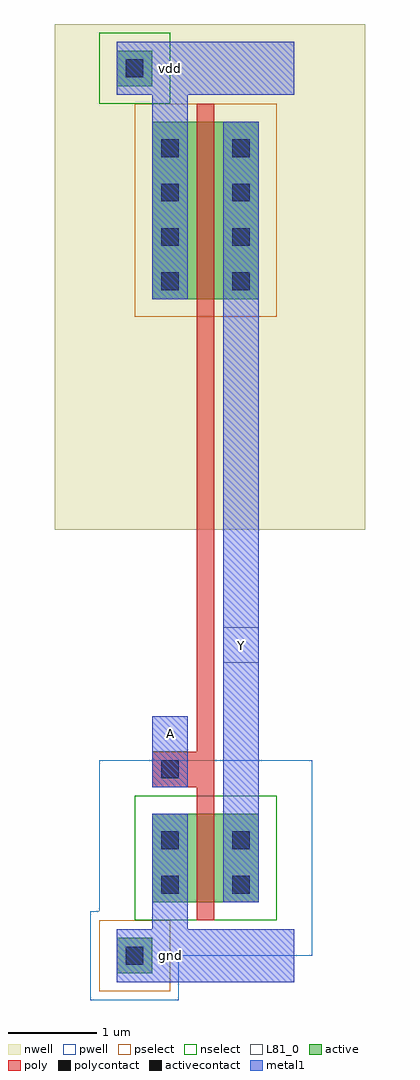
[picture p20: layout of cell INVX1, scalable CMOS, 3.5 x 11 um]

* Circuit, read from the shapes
.subckt INVX1 A Y gnd vdd
M1 Y A gnd gnd nfet w=1u l=0.2u
M2 Y A vdd vdd pfet w=2u l=0.2u
.ends

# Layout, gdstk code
import gdstk
lib = gdstk.Library(unit=1e-6, precision=1e-09)
def R(c, l, rs):  # rectangles x0, y0, x1, y1
    for r in rs: c.add(gdstk.rectangle(r[:2], r[2:], *l))
def A(c, l, x, y, w, h, nx, ny, dx, dy):  # array of equal rectangles
    R(c, l, [(x+i*dx, y+j*dy, x+i*dx+w, y+j*dy+h) for i in range(nx) for j in range(ny)])
pwell = (41, 0)
nwell = (42, 0)
active = (43, 0)
pselect = (44, 0)
nselect = (45, 0)
poly = (46, 0)
polycontact = (47, 0)
activecontact = (48, 0)
metal1 = (49, 0)
L81_0 = (81, 0)

invx1 = lib.new_cell('INVX1')
R(invx1, pwell, [(-0.5,-0.5,0.5,0), (-0.5,0,2,0.5), (-0.4,0.5,2,2.2)])
R(invx1, nwell, [(-0.9,4.8,2.6,10.5)])
R(invx1, active, [(-0.2,-0.2,0.2,0.2), (0.2,0.6,1.4,1.6), (0.2,7.4,1.4,9.4), (-0.2,9.8,0.2,10.2)])
R(invx1, pselect, [(-0.4,-0.4,0.4,0.4), (0,7.2,1.6,9.6)])
R(invx1, nselect, [(0,0.4,1.6,1.8), (-0.4,9.6,0.4,10.4)])
R(invx1, poly, [(0.7,0.4,0.9,1.9), (0.2,1.9,0.9,2.3), (0.7,2.3,0.9,9.6)])
R(invx1, polycontact, [(0.3,2,0.5,2.2)])
A(invx1, activecontact, 0.3, 7.5, 0.2, 0.2, 1, 4, 0, 0.5)
A(invx1, activecontact, 1.1, 7.5, 0.2, 0.2, 1, 4, 0, 0.5)
R(invx1, activecontact, [(-0.1,-0.1,0.1,0.1), (0.3,0.7,0.5,0.9), (1.1,0.7,1.3,0.9), (0.3,1.2,0.5,1.4), (1.1,1.2,1.3,1.4), (-0.1,9.9,0.1,10.1)])
R(invx1, metal1, [(-0.2,-0.3,1.8,0.3), (0.2,0.3,0.6,1.6), (1,0.6,1.4,9.4), (0.2,1.9,0.6,2.7), (0.2,7.4,0.6,9.7), (-0.2,9.7,1.8,10.3)])
R(invx1, L81_0, [(0.2,2.3,0.6,2.7), (1,3.3,1.4,3.7)])
invx1.add(gdstk.Label('A', (0.4,2.5), layer=49, texttype=0))
invx1.add(gdstk.Label('Y', (1.2,3.5), layer=49, texttype=0))
invx1.add(gdstk.Label('vdd', (0.4,10), layer=49, texttype=0))
invx1.add(gdstk.Label('gnd', (0.4,0), layer=49, texttype=0))

lib.write_gds('INVX1.gds')
